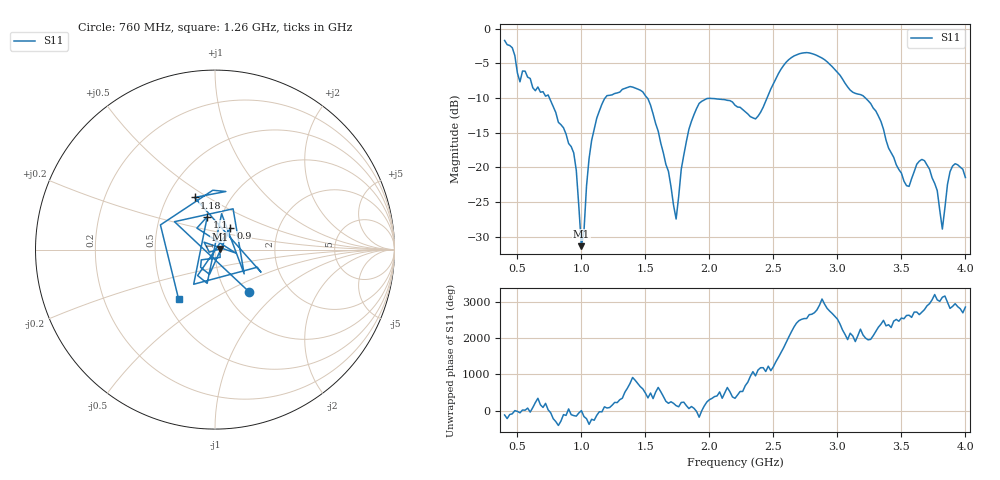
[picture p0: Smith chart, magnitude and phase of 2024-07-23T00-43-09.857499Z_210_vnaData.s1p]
!Created with skrf (http://scikit-rf.org).
# Hz S RI R 50.0
!freq ReS11 ImS11
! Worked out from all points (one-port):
!   181 points, 400 MHz to 4 GHz, reference 50 ohm
!   lowest |S11| = -31.4 dB at 1 GHz (marker M1), VSWR 1.06, Z = 52.8 + j0.377 ohm
!   |S11| at or under -10 dB: 750.4 MHz to 1.185 GHz (434.5 MHz wide, 44.9 % of centre); 1.515 GHz to 2.45 GHz (934.6 MHz wide, 47.1 % of centre); 3.219 GHz to end of sweep
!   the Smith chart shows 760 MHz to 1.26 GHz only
!   S11 on the Smith chart (normalised r, x): 760 MHz: 1.28, -0.66; 900 MHz: 1.15, +0.29; 1.1 GHz: 0.86, +0.33; 1.18 GHz: 0.68, +0.44; 1.26 GHz: 0.58, -0.36
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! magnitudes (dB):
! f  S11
! 400 MHz  -1.7
! 520 MHz  -7.7
! 760 MHz  -10.4
! 860 MHz  -14.3
! 900 MHz  -16.6
! 960 MHz  -20.4
! 1 GHz  -31.4
! 1.06 GHz  -18.7
! 1.1 GHz  -14.5
! 1.18 GHz  -10.1
! 1.26 GHz  -9.3
! 1.3 GHz  -9.1
! 1.52 GHz  -10.1
! 1.74 GHz  -27.4
! 1.76 GHz  -24.2
! 1.84 GHz  -14.5
! 1.92 GHz  -10.8
! 2.2 GHz  -11.0
! 2.36 GHz  -13.0
! 2.66 GHz  -3.9
! 3.1 GHz  -8.9
! 3.3 GHz  -11.9
! 3.56 GHz  -22.7
! 3.68 GHz  -19.0
! 3.78 GHz  -23.3
! 3.82 GHz  -28.9
! 3.88 GHz  -20.6
! 4 GHz  -21.5
